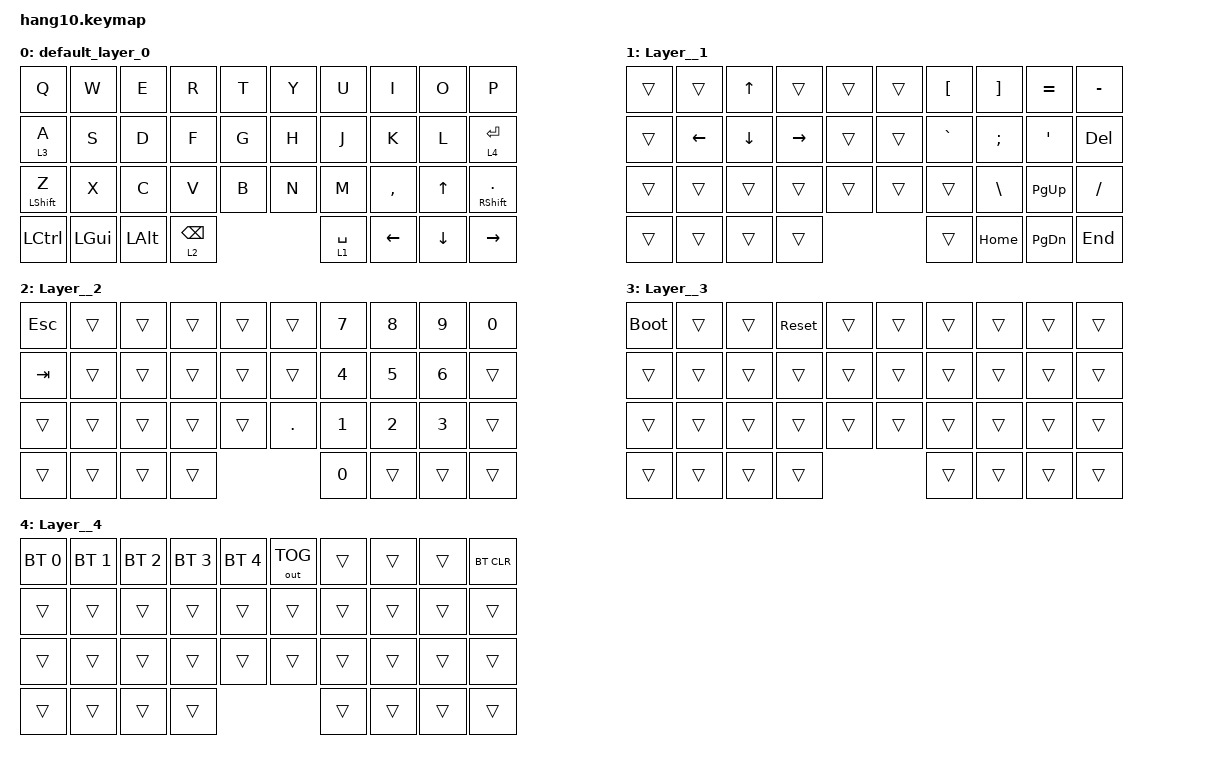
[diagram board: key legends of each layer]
/*
 * Copyright (c) 2020 The ZMK Contributors
 *
 * SPDX-License-Identifier: MIT
 */

#include <behaviors.dtsi>
#include <dt-bindings/zmk/keys.h>
#include <dt-bindings/zmk/bt.h>
#include <dt-bindings/zmk/outputs.h>

&mt {
    tapping-term-ms = <200>;
};

&lt {
    quick-tap-ms = <400>;
};

/ {
    keymap {
        compatible = "zmk,keymap";

        default_layer_0 {
            bindings = <
      &kp Q     &kp W     &kp E       &kp R  &kp T        &kp Y  &kp U      &kp I     &kp O          &kp P
    &lt 3 A     &kp S     &kp D       &kp F  &kp G        &kp H  &kp J      &kp K     &kp L      &lt 4 RET
&mt LSHFT Z     &kp X     &kp C       &kp V  &kp B        &kp N  &kp M  &kp COMMA    &kp UP  &mt RSHFT DOT
  &kp LCTRL  &kp LGUI  &kp LALT  &lt 2 BSPC         &lt 1 SPACE          &kp LEFT  &kp DOWN      &kp RIGHT
            >;
        };

        Layer__1 {
            bindings = <
&trans    &trans    &kp UP     &trans  &trans  &trans   &kp LBKT  &kp RBKT  &kp EQUAL  &kp MINUS
&trans  &kp LEFT  &kp DOWN  &kp RIGHT  &trans  &trans  &kp GRAVE  &kp SEMI    &kp SQT    &kp DEL
&trans    &trans    &trans     &trans  &trans  &trans     &trans  &kp BSLH  &kp PG_UP   &kp FSLH
&trans    &trans    &trans     &trans          &trans             &kp HOME  &kp PG_DN    &kp END
            >;
        };

        Layer__2 {
            bindings = <
&kp ESC  &trans  &trans  &trans  &trans   &trans  &kp N7  &kp N8  &kp N9  &kp N0
&kp TAB  &trans  &trans  &trans  &trans   &trans  &kp N4  &kp N5  &kp N6  &trans
 &trans  &trans  &trans  &trans  &trans  &kp DOT  &kp N1  &kp N2  &kp N3  &trans
 &trans  &trans  &trans  &trans           &kp N0          &trans  &trans  &trans
            >;
        };

        Layer__3 {
            bindings = <
&bootloader  &trans  &trans  &sys_reset  &trans  &trans  &trans  &trans  &trans  &trans
     &trans  &trans  &trans      &trans  &trans  &trans  &trans  &trans  &trans  &trans
     &trans  &trans  &trans      &trans  &trans  &trans  &trans  &trans  &trans  &trans
     &trans  &trans  &trans      &trans          &trans          &trans  &trans  &trans
            >;
        };

        Layer__4 {
            bindings = <
&bt BT_SEL 0  &bt BT_SEL 1  &bt BT_SEL 2  &bt BT_SEL 3  &bt BT_SEL 4  &out OUT_TOG  &trans  &trans  &trans  &bt BT_CLR
      &trans        &trans        &trans        &trans        &trans        &trans  &trans  &trans  &trans      &trans
      &trans        &trans        &trans        &trans        &trans        &trans  &trans  &trans  &trans      &trans
      &trans        &trans        &trans        &trans                      &trans          &trans  &trans      &trans
            >;
        };
    };
};
